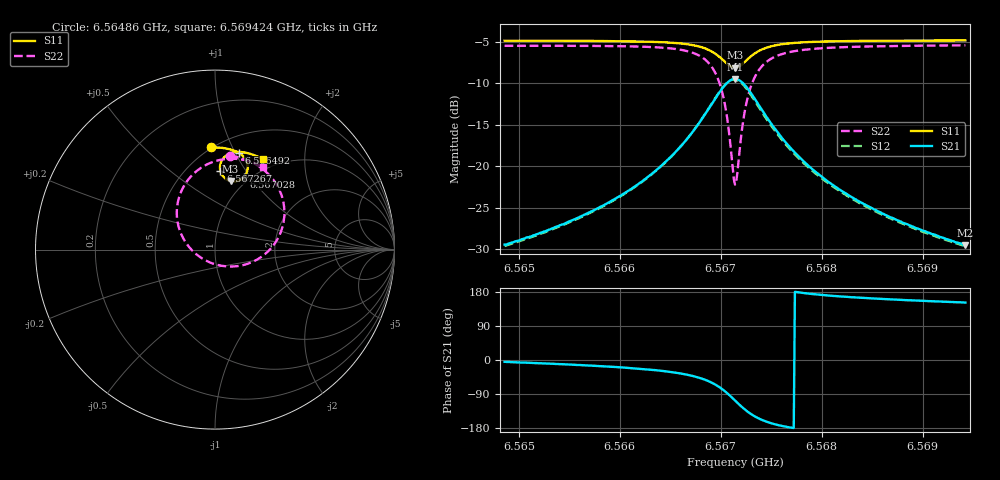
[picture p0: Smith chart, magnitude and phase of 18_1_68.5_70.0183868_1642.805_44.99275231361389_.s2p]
#  HZ  S  RI  R  50.00
! Rohde & Schwarz Vector Network Analyzer
! Rohde-Schwarz,ZNB20-2Port,1311601062101988,3.16
! Created: UTC 3/20/2024, 4:49:18 PM
! freq[Hz]  re:S11  im:S11  re:S21  im:S21  re:S12  im:S12  re:S22  im:S22
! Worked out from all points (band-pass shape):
!   401 points, 6.56486 GHz to 6.569424 GHz, reference 50 ohm
!   highest |S21| = -9.52 dB at 6.567142 GHz (marker M1); lowest = -29.5 dB at 6.569424 GHz (marker M2)
!   |S21| within 3 dB of the highest: 6.566913 GHz to 6.56737 GHz (457.5 kHz wide, 0.00697 % of centre)
!   lowest |S11| = -8.1 dB at 6.567142 GHz (marker M3), VSWR 2.29, Z = 43.2 + j39 ohm
!   |S11| at or under -10 dB: nowhere
!   |S22| runs from -22.2 to -5.4 dB; largest |S21 - S12| = 0.018
!   S11 on the Smith chart (normalised r, x): 6.56486 GHz: 0.49, +0.83; 6.566492 GHz: 0.67, +1.04; 6.567028 GHz: 0.94, +0.93; 6.567267 GHz: 0.71, +0.77; 6.569424 GHz: 0.86, +1.28
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6.5648598e9  -0.0223 0.5691  0.0335 -0.00281  0.0329 -0.00336  0.0835 0.5236
6.5656243e9  0.0431 0.5663  0.0487 -0.0118  0.0478 -0.0124  0.1639 0.5039
6.5660579e9  0.0844 0.5587  0.065 -0.0241  0.064 -0.0249  0.2236 0.4771
6.5663888e9  0.1209 0.5452  0.0861 -0.0455  0.085 -0.0467  0.2853 0.4329
6.5664915e9  0.1338 0.5382  0.0953 -0.0575  0.094 -0.0588  0.3089 0.4089
6.5666969e9  0.1618 0.5139  0.1166 -0.0997  0.1147 -0.1019  0.3617 0.3266
6.5668567e9  0.1804 0.4752  0.1252 -0.1683  0.1218 -0.1723  0.3865 0.194
6.5669594e9  0.1784 0.4341  0.103 -0.2409  0.0957 -0.2461  0.3466 0.0557
6.5670278e9  0.1592 0.4025  0.0549 -0.2946  0.043 -0.2986  0.2547 -0.0432
6.5670849e9  0.1275 0.3832  -0.0134 -0.3244  -0.0291 -0.3238  0.1259 -0.0919
6.5671191e9  0.1033 0.3797  -0.0631 -0.327  -0.0796 -0.3219  0.0353 -0.09
6.5671419e9  0.0868 0.3819  -0.0967 -0.3201  -0.1126 -0.3124  -0.024 -0.0735
6.5671647e9  0.0711 0.3874  -0.1282 -0.307  -0.1426 -0.2965  -0.0782 -0.0451
6.5672218e9  0.041 0.4134  -0.1883 -0.2534  -0.1969 -0.2387  -0.1751 0.0593
6.5672674e9  0.0297 0.4395  -0.2124 -0.2019  -0.2161 -0.187  -0.2083 0.1532
6.5673587e9  0.0325 0.4847  -0.2139 -0.1147  -0.2118 -0.1033  -0.1955 0.3055
6.5674956e9  0.06 0.5223  -0.1766 -0.0424  -0.1726 -0.0361  -0.1154 0.4263
6.5676554e9  0.0923 0.5388  -0.1357 -0.00818  -0.1324 -0.00487  -0.0317 0.4809
6.5679064e9  0.1312 0.5442  -0.0953 0.00977  -0.093 0.0112  0.057 0.5043
6.5682601e9  0.1721 0.5396  -0.0652 0.0158  -0.0635 0.0166  0.1335 0.504
6.5686709e9  0.2102 0.529  -0.0465 0.0167  -0.0454 0.0172  0.1923 0.492
6.569424e9  0.2693 0.5035  -0.0293 0.0159  -0.0287 0.016  0.2679 0.4619
